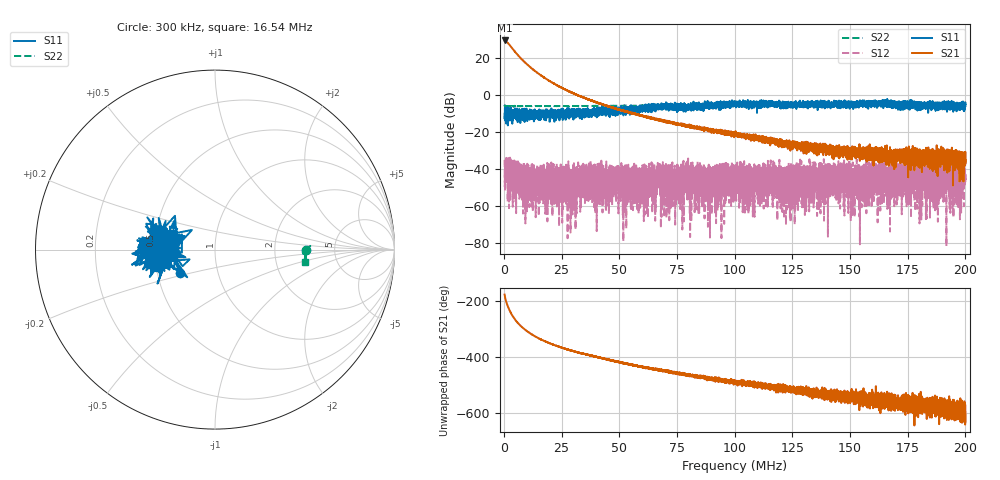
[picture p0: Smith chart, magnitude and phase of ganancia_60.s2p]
# Hz S DB R 50
! CMT, M5065, 19127446, 24.2.4/2
! Date: 10/29/2024 12:52:59 PM
! Data: Format (Calibration Info)
! Freq	S11:dB/Ang(F2)	S21:dB/Ang(F2)	S12:dB/Ang(F2)	S22:dB/Ang(F2)
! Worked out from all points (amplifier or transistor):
!   9000 points, 300 kHz to 200 MHz, reference 50 ohm
!   highest |S21| = 29.5 dB at 388.8 kHz (marker M1)
!   |S21| within 3 dB of that: start of sweep to 2.82 MHz
!   unconditionally stable (mu >= 1): 305.5 kHz to 565.1 kHz; 1.333 MHz to 2.492 MHz; 2.657 MHz to end of sweep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
!   at 33.59 MHz: K = 161.39, MAG = 0.8 dB, |S12| = -52.6 dB
!   at 100.2 MHz: K = 640.92, MAG = -18.8 dB, |S12| = -46.3 dB
!   at 200 MHz: K = 1626.71, MAG = -31.9 dB, |S12| = -41.4 dB
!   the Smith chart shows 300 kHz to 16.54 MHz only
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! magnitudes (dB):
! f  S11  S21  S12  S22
! 300 kHz  -12.6  29.5  -35.0  -5.9
! 388.8 kHz  -9.5  29.5  -49.5  -5.4
! 1.321 MHz  -10.3  28.6  -36.8  -6.0
! 10.06 MHz  -9.8  16.6  -50.1  -5.9
! 33.59 MHz  -11.1  -0.8  -52.6  -5.9
! 57.55 MHz  -8.1  -10.6  -54.5  -5.7
! 66.87 MHz  -6.2  -13.0  -42.6  -5.7
! 71.42 MHz  -6.4  -14.4  -40.7  -5.7
! 79.52 MHz  -6.3  -17.0  -55.1  -5.7
! 90.33 MHz  -5.9  -19.0  -51.3  -5.7
! 93.35 MHz  -5.5  -20.4  -54.0  -5.7
! 95.48 MHz  -5.0  -20.7  -50.9  -5.6
! 100.2 MHz  -5.3  -21.6  -46.3  -5.7
! 133.4 MHz  -3.5  -28.2  -50.5  -5.4
! 166.7 MHz  -4.3  -34.4  -44.1  -5.3
! 170.8 MHz  -7.9  -31.4  -52.8  -5.4
! 180.7 MHz  -4.3  -33.9  -59.5  -5.4
! 184.8 MHz  -5.9  -33.5  -42.2  -5.4
! 187.2 MHz  -5.1  -32.8  -41.1  -5.4
! 192 MHz  -7.3  -35.1  -47.6  -5.4
! 194.1 MHz  -4.4  -32.2  -50.9  -5.5
! 200 MHz  -5.2  -34.9  -41.4  -5.5
